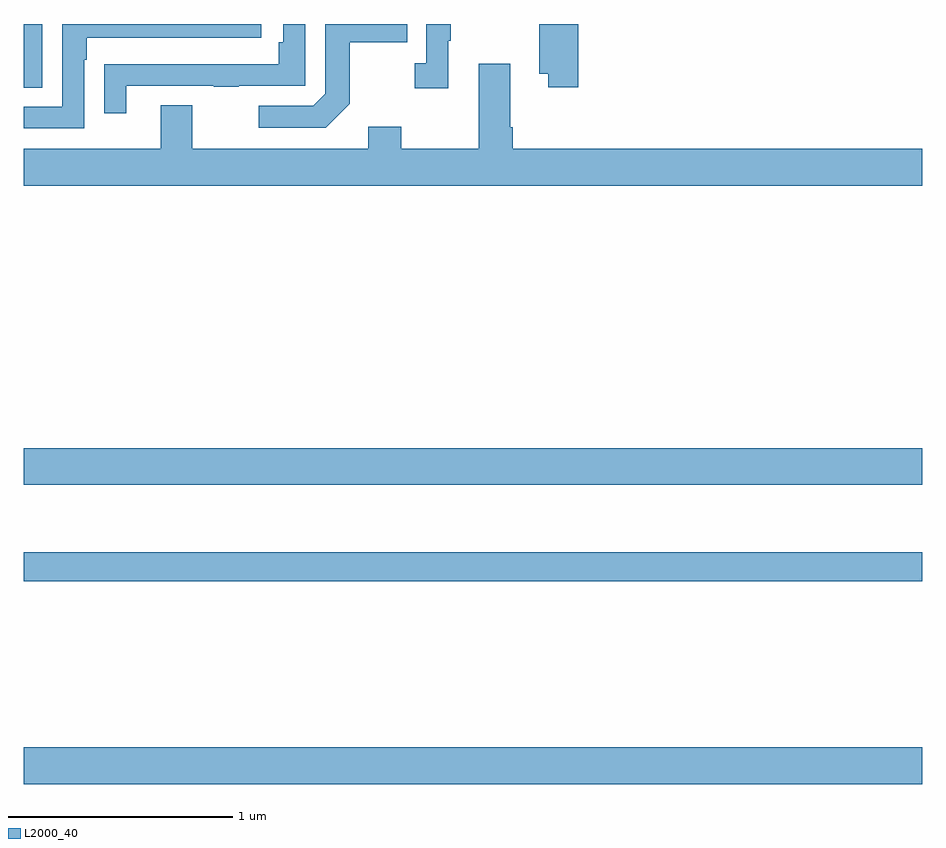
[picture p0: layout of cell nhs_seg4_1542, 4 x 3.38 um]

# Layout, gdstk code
import gdstk
lib = gdstk.Library(unit=1e-6, precision=1e-09)
def R(c, l, rs):  # rectangles x0, y0, x1, y1
    for r in rs: c.add(gdstk.rectangle(r[:2], r[2:], *l))
def P(c, l, *ps):  # polygons
    for p in ps: c.add(gdstk.Polygon(p, *l))
L2000_40 = (2000, 40)

nhs_seg4_1542 = lib.new_cell('nhs_seg4_1542')
R(nhs_seg4_1542, L2000_40, [(191,767.516,195,767.68), (191,768.418,195,768.547), (191,768.848,195,769.012), (191,770.617,191.082,770.9)])
P(nhs_seg4_1542, L2000_40, [(193.469,770.9),(193.294,770.9),(193.294,770.678),(193.334,770.678),(193.334,770.619),(193.469,770.619)],
  [(191.268,770.741),(191.281,770.741),(191.281,770.838),(192.058,770.838),(192.058,770.9),(191.172,770.9),(191.172,770.532),(191,770.532),(191,770.436),(191.268,770.436)],
  [(192.889,770.825),(192.901,770.825),(192.901,770.9),(192.792,770.9),(192.792,770.726),(192.741,770.726),(192.741,770.613),(192.889,770.613)],
  [(191.455,770.625),(191.845,770.625),(191.845,770.62),(191.957,770.62),(191.957,770.625),(192.252,770.625),(192.252,770.9),(192.156,770.9),(192.156,770.818),(192.136,770.818),(192.136,770.721),(191.461,770.721),(191.461,770.72),(191.359,770.72),(191.359,770.502),(191.455,770.502)],
  [(192.451,770.545),(192.451,770.818),(192.707,770.818),(192.707,770.9),(192.342,770.9),(192.342,770.589),(192.288,770.535),(192.045,770.535),(192.045,770.439),(192.345,770.439)],
  [(195,770.344),(193.178,770.344),(193.178,770.44),(193.165,770.44),(193.165,770.722),(193.025,770.722),(193.025,770.344),(192.681,770.344),(192.681,770.443),(192.533,770.443),(192.533,770.344),(191.749,770.344),(191.749,770.539),(191.609,770.539),(191.609,770.344),(191,770.344),(191,770.18),(195,770.18)])

lib.write_gds('nhs_seg4_1542.gds')
